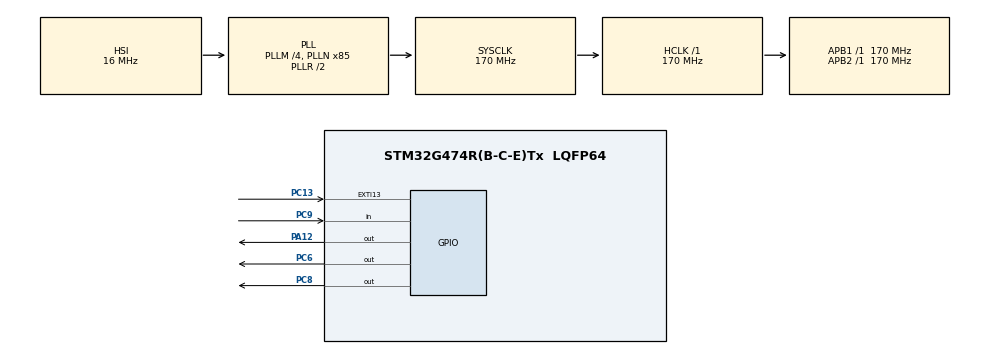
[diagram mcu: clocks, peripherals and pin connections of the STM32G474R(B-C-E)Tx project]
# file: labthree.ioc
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Mcu.Family=STM32G4
Mcu.Name=STM32G474R(B-C-E)Tx
Mcu.Package=LQFP64
NVIC.EXTI15_10_IRQn=true\:1\:0\:true\:false\:true\:true\:true\:true
NVIC.PriorityGroup=NVIC_PRIORITYGROUP_4
PA12.Signal=GPIO_Output
PA13.GPIO_Label=T_SWDIO
PA13.Signal=SYS_JTMS-SWDIO
PA14.GPIO_Label=T_SWCLK
PA14.Signal=SYS_JTCK-SWCLK
PA2.GPIO_Label=LPUART1_TX [STLINKV3E_VCP_RX]
PA2.Signal=LPUART1_TX
PA3.GPIO_Label=LPUART1_RX [STLINKV3E_VCP_TX]
PA3.Signal=LPUART1_RX
PB3.GPIO_Label=T_SWO
PB3.Signal=SYS_JTDO-SWO
PC13.Signal=GPXTI13
PC14-OSC32_IN.GPIO_Label=RCC_OSC32_IN
PC14-OSC32_IN.Signal=RCC_OSC32_IN
PC15-OSC32_OUT.GPIO_Label=RCC_OSC32_OUT
PC15-OSC32_OUT.Signal=RCC_OSC32_OUT
PC6.Signal=GPIO_Output
PC8.Signal=GPIO_Output
PC9.GPIO_PuPd=GPIO_PULLUP
PC9.Signal=GPIO_Input
PF0-OSC_IN.GPIO_Label=RCC_OSC_IN
PF0-OSC_IN.Signal=RCC_OSC_IN
PF1-OSC_OUT.GPIO_Label=RCC_OSC_OUT
PF1-OSC_OUT.Signal=RCC_OSC_OUT
ProjectManager.HeapSize=0x200
ProjectManager.StackSize=0x400
ProjectManager.TargetToolchain=STM32CubeIDE
RCC.ADC12Freq_Value=170000000
RCC.ADC345Freq_Value=170000000
RCC.AHBFreq_Value=170000000
RCC.APB1Freq_Value=170000000
RCC.APB1TimFreq_Value=170000000
RCC.APB2Freq_Value=170000000
RCC.APB2TimFreq_Value=170000000
RCC.CortexFreq_Value=170000000
RCC.EXTERNAL_CLOCK_VALUE=12288000
RCC.HCLKFreq_Value=170000000
RCC.HSE_VALUE=24000000
RCC.HSI48_VALUE=48000000
RCC.HSI_VALUE=16000000
RCC.LSE_VALUE=32768
RCC.PLLM=RCC_PLLM_DIV4
RCC.PLLN=85
RCC.RTCClockSelection=RCC_RTCCLKSOURCE_LSE
RCC.SYSCLKFreq_VALUE=170000000
RCC.SYSCLKSource=RCC_SYSCLKSOURCE_PLLCLK
RCC.USBFreq_Value=170000000
RCC.VCOOutputFreq_Value=340000000
VP_SYS_VS_DBSignals.Mode=DisableDeadBatterySignals
board=NUCLEO-G474RE

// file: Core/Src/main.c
/* USER CODE BEGIN Header */
/**
  ******************************************************************************
  * @file           : main.c
  * @brief          : Main program body
  ******************************************************************************
  * @attention
  *
  * Copyright (c) 2026 STMicroelectronics.
  * All rights reserved.
  *
  * This software is licensed under terms that can be found in the LICENSE file
  * in the root directory of this software component.
  * If no LICENSE file comes with this software, it is provided AS-IS.
  *
  ******************************************************************************
  */
/* USER CODE END Header */
#include "main.h"

/* USER CODE BEGIN PD */
/* =========================
   State 定義
   使用 int 管理狀態
   0 = NORMAL
   1 = WARNING
   2 = EMERGENCY
   ========================= */
#define STATE_NORMAL      0
#define STATE_WARNING     1
#define STATE_EMERGENCY   2
/* USER CODE END PD */

/* USER CODE BEGIN PV */
int state = STATE_NORMAL;

/* =========================
   Timing 變數
   now      = 目前時間
   previous = 上一次 LED Toggle 的時間
   ========================= */
uint32_t now = 0;
uint32_t previous = 0;
uint32_t warning_start_time = 0;
/* =========================
   STOP Event Flag
   由 EXTI Interrupt 設定
   ========================= */
volatile int STOP = 0;

/* =========================
   MODE Event
   ========================= */
int MODE_event = 0;

/* =========================
   MODE Button 狀態
   PC9 使用 Pull-up
   未按 = HIGH
   按下 = LOW
   利用 previous / current
   判斷按下瞬間
   ========================= */
GPIO_PinState mode_previous = GPIO_PIN_SET;
GPIO_PinState mode_current = GPIO_PIN_SET;
/* USER CODE END PV */

void SystemClock_Config(void);
static void MX_GPIO_Init(void);

int main(void)
{

  /* MCU Configuration--------------------------------------------------------*/

  /* Reset of all peripherals, Initializes the Flash interface and the Systick. */
  HAL_Init();

  /* Configure the system clock */
  SystemClock_Config();

  /* Initialize all configured peripherals */
  MX_GPIO_Init();
  /* USER CODE BEGIN 2 */
  /* =========================
     Initial State = NORMAL
     開機後：
     Green LED 亮 (PC8)
     Yellow LED 滅 (PA12)
     Red LED 滅 (PC6)
     ========================= */
  previous = HAL_GetTick();
  HAL_GPIO_WritePin(GPIOC, GPIO_PIN_8, GPIO_PIN_SET);    // Green ON (PC8)
  HAL_GPIO_WritePin(GPIOA, GPIO_PIN_12, GPIO_PIN_RESET); // Yellow OFF (PA12)
  HAL_GPIO_WritePin(GPIOC, GPIO_PIN_6, GPIO_PIN_RESET);  // Red OFF (PC6)
  /* USER CODE END 2 */

  /* Infinite loop */
  /* USER CODE BEGIN WHILE */
  while (1)
  {
    /* =====================================================
       Step 1：Read Events
       讀取輸入事件與目前時間
       ===================================================== */

    /* 每一圈先清除 MODE Event */
    MODE_event = 0;

    /* =========================
       MODE Button
       PC9
       Pull-up
       Active Low
       Polling
       ========================= */
    mode_current = HAL_GPIO_ReadPin(GPIOC, GPIO_PIN_9);

    /* =========================
       偵測按下瞬間
       前一次 = HIGH
       現在   = LOW
       代表按鍵剛被按下
       ========================= */
    if ((mode_previous == GPIO_PIN_SET) && (mode_current == GPIO_PIN_RESET))
    {
        /* =========================
           Debounce
           HAL_Delay 僅用於按鍵防彈跳
           ========================= */
        HAL_Delay(50);

        /* 50 ms 後再次確認按鍵仍然被按下 */
        if (HAL_GPIO_ReadPin(GPIOC, GPIO_PIN_9) == GPIO_PIN_RESET)
        {
            MODE_event = 1;
        }
    }

    /* 儲存這一圈的按鍵狀態 給下一圈比較 */
    mode_previous = mode_current;

    /* 取得目前系統時間 */
    now = HAL_GetTick();

    /* =====================================================
       Step 2：Write Event / Transition
       根據：
       Current State + Event
       決定 Next State
       ===================================================== */

    /* =========================
       NORMAL + MODE
       → WARNING
       ========================= */
    if ((state == STATE_NORMAL) && (MODE_event == 1))
    {
        state = STATE_WARNING;
        /* 進入新 State 時重新開始計時 */
        previous = now;
        warning_start_time = now;
        /* WARNING 初始輸出 */
        HAL_GPIO_WritePin(GPIOC, GPIO_PIN_8, GPIO_PIN_RESET);  // Green OFF
        HAL_GPIO_WritePin(GPIOA, GPIO_PIN_12, GPIO_PIN_SET);   // Yellow ON (PA12)
        HAL_GPIO_WritePin(GPIOC, GPIO_PIN_6, GPIO_PIN_RESET);  // Red OFF

    }
    /* =========================
       WARNING + MODE
       → NORMAL
       ========================= */
    else if ((state == STATE_WARNING) && (now - warning_start_time)>= 5000)
    {
        state = STATE_NORMAL;
        /* 進入新 State 時重新開始計時 */
        previous = now;
        /* NORMAL 初始輸出 */
        HAL_GPIO_WritePin(GPIOC, GPIO_PIN_8, GPIO_PIN_SET);    // Green ON (PC8)
        HAL_GPIO_WritePin(GPIOA, GPIO_PIN_12, GPIO_PIN_RESET); // Yellow OFF (PA12)
        HAL_GPIO_WritePin(GPIOC, GPIO_PIN_6, GPIO_PIN_RESET);  // Red OFF
    }
    /* =========================
       EMERGENCY + MODE
       → 保持 EMERGENCY
       MODE 在 Emergency 狀態無效
       ========================= */
    else if ((state == STATE_EMERGENCY) && (MODE_event == 1))
    {
        state = STATE_EMERGENCY;
    }

    /* =========================
       STOP Event
       任意 State → EMERGENCY
       STOP 優先處理
       ========================= */
    if (STOP == 1)
    {
        state = STATE_EMERGENCY;
        /* Event 處理完成後清除 Flag */
        STOP = 0;
        /* EMERGENCY 輸出 */
        HAL_GPIO_WritePin(GPIOC, GPIO_PIN_8, GPIO_PIN_RESET);  // Green OFF
        HAL_GPIO_WritePin(GPIOA, GPIO_PIN_12, GPIO_PIN_RESET); // Yellow OFF (PA12)
        HAL_GPIO_WritePin(GPIOC, GPIO_PIN_6, GPIO_PIN_SET);    // Red ON (PC6)
    }

    /* =====================================================
       Step 3：Write Behavior
       根據目前 State 執行對應行為
       ===================================================== */

    /* =========================
       NORMAL
       Green LED = 1 Hz Blink
       每 500 ms Toggle 一次
       ON 500 ms / OFF 500 ms
       完整週期 = 1 秒
       ========================= */
    if (state == STATE_NORMAL)
    {
        if ((now - previous) >= 500)
        {
            previous = now;
            HAL_GPIO_TogglePin(GPIOC, GPIO_PIN_8);
        }
    }
    /* =========================
       WARNING
       Yellow LED = 2 Hz Blink
       每 250 ms Toggle 一次
       ON 250 ms / OFF 250 ms
       完整週期 = 0.5 秒
       ========================= */
    else if (state == STATE_WARNING)
    {
        if ((now - previous) >= 250)
        {
            previous = now;
            HAL_GPIO_TogglePin(GPIOA, GPIO_PIN_12); // Yellow LED (PA12)
        }
    }
    /* =========================
       EMERGENCY
       Red LED Always ON
       Green / Yellow OFF
       ========================= */
    else if (state == STATE_EMERGENCY)
    {
        HAL_GPIO_WritePin(GPIOC, GPIO_PIN_8, GPIO_PIN_RESET);  // Green OFF
        HAL_GPIO_WritePin(GPIOA, GPIO_PIN_12, GPIO_PIN_RESET); // Yellow OFF (PA12)
        HAL_GPIO_WritePin(GPIOC, GPIO_PIN_6, GPIO_PIN_SET);    // Red ON (PC6)
    }
    /* USER CODE END WHILE */

  }
}

void SystemClock_Config(void)
{
  RCC_OscInitTypeDef RCC_OscInitStruct = {0};
  RCC_ClkInitTypeDef RCC_ClkInitStruct = {0};

  /** Configure the main internal regulator output voltage
  */
  HAL_PWREx_ControlVoltageScaling(PWR_REGULATOR_VOLTAGE_SCALE1_BOOST);

  /** Initializes the RCC Oscillators according to the specified parameters
  * in the RCC_OscInitTypeDef structure.
  */
  RCC_OscInitStruct.OscillatorType = RCC_OSCILLATORTYPE_HSI;
  RCC_OscInitStruct.HSIState = RCC_HSI_ON;
  RCC_OscInitStruct.HSICalibrationValue = RCC_HSICALIBRATION_DEFAULT;
  RCC_OscInitStruct.PLL.PLLState = RCC_PLL_ON;
  RCC_OscInitStruct.PLL.PLLSource = RCC_PLLSOURCE_HSI;
  RCC_OscInitStruct.PLL.PLLM = RCC_PLLM_DIV4;
  RCC_OscInitStruct.PLL.PLLN = 85;
  RCC_OscInitStruct.PLL.PLLP = RCC_PLLP_DIV2;
  RCC_OscInitStruct.PLL.PLLQ = RCC_PLLQ_DIV2;
  RCC_OscInitStruct.PLL.PLLR = RCC_PLLR_DIV2;
  if (HAL_RCC_OscConfig(&RCC_OscInitStruct) != HAL_OK)
  {
    Error_Handler();
  }

  /** Initializes the CPU, AHB and APB buses clocks
  */
  RCC_ClkInitStruct.ClockType = RCC_CLOCKTYPE_HCLK|RCC_CLOCKTYPE_SYSCLK
                              |RCC_CLOCKTYPE_PCLK1|RCC_CLOCKTYPE_PCLK2;
  RCC_ClkInitStruct.SYSCLKSource = RCC_SYSCLKSOURCE_PLLCLK;
  RCC_ClkInitStruct.AHBCLKDivider = RCC_SYSCLK_DIV1;
  RCC_ClkInitStruct.APB1CLKDivider = RCC_HCLK_DIV1;
  RCC_ClkInitStruct.APB2CLKDivider = RCC_HCLK_DIV1;

  if (HAL_RCC_ClockConfig(&RCC_ClkInitStruct, FLASH_LATENCY_4) != HAL_OK)
  {
    Error_Handler();
  }
}

static void MX_GPIO_Init(void)
{
  GPIO_InitTypeDef GPIO_InitStruct = {0};

  /* GPIO Ports Clock Enable */
  __HAL_RCC_GPIOC_CLK_ENABLE();
  __HAL_RCC_GPIOF_CLK_ENABLE();
  __HAL_RCC_GPIOA_CLK_ENABLE();
  __HAL_RCC_GPIOB_CLK_ENABLE();

  /*Configure GPIO pin Output Level */
  HAL_GPIO_WritePin(GPIOC, GPIO_PIN_6|GPIO_PIN_8, GPIO_PIN_RESET);

  /*Configure GPIO pin Output Level */
  HAL_GPIO_WritePin(GPIOA, GPIO_PIN_12, GPIO_PIN_RESET);

  /*Configure GPIO pin : PC13 */
  GPIO_InitStruct.Pin = GPIO_PIN_13;
  GPIO_InitStruct.Mode = GPIO_MODE_IT_RISING;
  GPIO_InitStruct.Pull = GPIO_NOPULL;
  HAL_GPIO_Init(GPIOC, &GPIO_InitStruct);

  /*Configure GPIO pins : LPUART1_TX_Pin LPUART1_RX_Pin */
  GPIO_InitStruct.Pin = LPUART1_TX_Pin|LPUART1_RX_Pin;
  GPIO_InitStruct.Mode = GPIO_MODE_AF_PP;
  GPIO_InitStruct.Pull = GPIO_NOPULL;
  GPIO_InitStruct.Speed = GPIO_SPEED_FREQ_LOW;
  GPIO_InitStruct.Alternate = GPIO_AF12_LPUART1;
  HAL_GPIO_Init(GPIOA, &GPIO_InitStruct);

  /*Configure GPIO pins : PC6 PC8 */
  GPIO_InitStruct.Pin = GPIO_PIN_6|GPIO_PIN_8;
  GPIO_InitStruct.Mode = GPIO_MODE_OUTPUT_PP;
  GPIO_InitStruct.Pull = GPIO_NOPULL;
  GPIO_InitStruct.Speed = GPIO_SPEED_FREQ_LOW;
  HAL_GPIO_Init(GPIOC, &GPIO_InitStruct);

  /*Configure GPIO pin : PC9 */
  GPIO_InitStruct.Pin = GPIO_PIN_9;
  GPIO_InitStruct.Mode = GPIO_MODE_INPUT;
  GPIO_InitStruct.Pull = GPIO_PULLUP;
  HAL_GPIO_Init(GPIOC, &GPIO_InitStruct);

  /*Configure GPIO pin : PA12 */
  GPIO_InitStruct.Pin = GPIO_PIN_12;
  GPIO_InitStruct.Mode = GPIO_MODE_OUTPUT_PP;
  GPIO_InitStruct.Pull = GPIO_NOPULL;
  GPIO_InitStruct.Speed = GPIO_SPEED_FREQ_LOW;
  HAL_GPIO_Init(GPIOA, &GPIO_InitStruct);

  /* EXTI interrupt init*/
  HAL_NVIC_SetPriority(EXTI15_10_IRQn, 1, 0);
  HAL_NVIC_EnableIRQ(EXTI15_10_IRQn);

}

/* USER CODE BEGIN 4 */
/* =========================================================
   STOP Button EXTI Callback
   Interrupt 發生時：不直接執行 Emergency Behavior
   只設定 STOP Event Flag
   之後由 main loop 處理 State Transition
   ========================================================= */
void HAL_GPIO_EXTI_Callback(uint16_t GPIO_Pin)
{
  /* 確認 Interrupt 來源為 PC13 */
  if (GPIO_Pin == GPIO_PIN_13)
  {
    STOP = 1;
  }
}
/* USER CODE END 4 */

void Error_Handler(void)
{
  __disable_irq();
  while (1)
  {
  }
}
